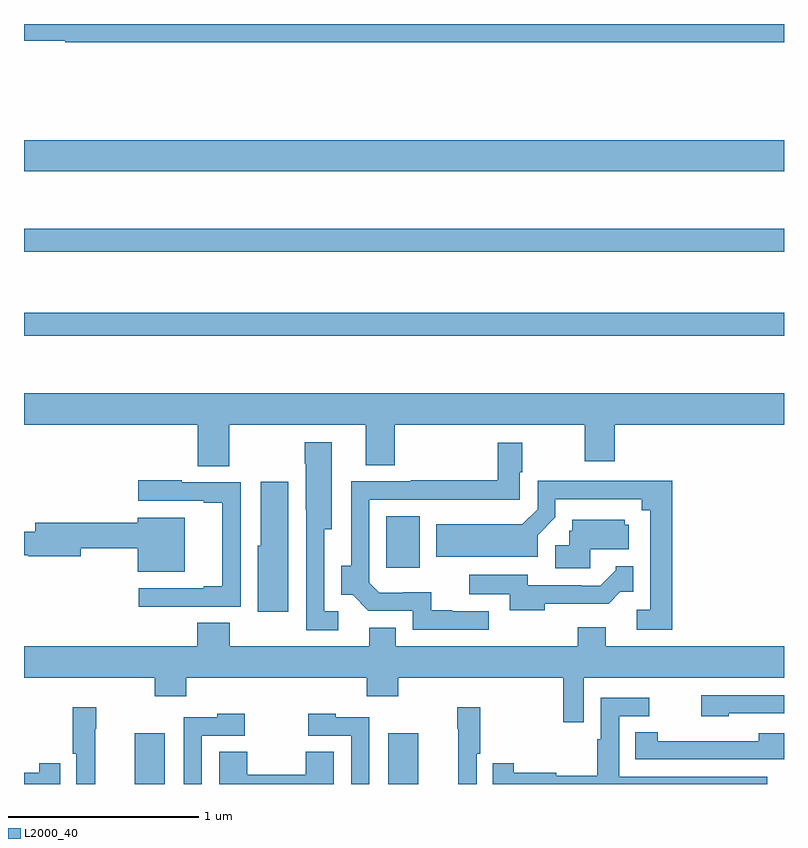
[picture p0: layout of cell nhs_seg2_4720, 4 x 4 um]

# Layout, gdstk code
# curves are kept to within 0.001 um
import gdstk
lib = gdstk.Library(unit=1e-6, precision=1e-09)
def R(c, l, rs):  # rectangles x0, y0, x1, y1
    for r in rs: c.add(gdstk.rectangle(r[:2], r[2:], *l))
def P(c, l, *ps):  # polygons
    for p in ps: c.add(gdstk.Polygon(p, *l))
L2000_40 = (2000, 40)

nhs_seg2_4720 = lib.new_cell('nhs_seg2_4720')
R(nhs_seg2_4720, L2000_40, [(369.584,589.8,369.742,590.068), (370.916,589.8,371.074,590.068), (370.907,590.937,371.083,591.208), (369,592.158,373,592.279), (369,592.602,373,592.723), (369,593.024,373,593.188)])
P(nhs_seg2_4720, L2000_40, [(373,593.8),(369,593.8),(369,593.712),(369.218,593.712),(369.218,593.704),(373,593.704)],
  [(370.08,591.692),(370.799,591.692),(370.799,591.478),(370.952,591.478),(370.952,591.692),(371.95,591.692),(371.95,591.498),(372.11,591.498),(372.11,591.692),(373,591.692),(373,591.856),(369,591.856),(369,591.692),(369.914,591.692),(369.914,591.472),(370.08,591.472)],
  [(370.654,590.709),(370.581,590.709),(370.581,591.14),(370.621,591.14),(370.621,591.598),(370.477,591.598),(370.477,591.485),(370.484,591.485),(370.484,591.244),(370.485,591.244),(370.485,590.609),(370.654,590.609)],
  [(371.446,590.709),(371.255,590.709),(371.255,590.714),(371.144,590.714),(371.144,590.808),(370.871,590.807),(370.818,590.859),(370.818,591.297),(371.61,591.296),(371.61,591.441),(371.623,591.441),(371.623,591.595),(371.494,591.595),(371.494,591.398),(371.035,591.398),(371.035,591.393),(370.722,591.393),(370.722,590.948),(370.67,590.948),(370.67,590.795),(370.729,590.795),(370.812,590.712),(371.046,590.712),(371.046,590.613),(371.446,590.613)],
  [(369.827,590.733),(370.14,590.733),(370.14,591.387),(369.83,591.387),(369.83,591.4),(369.6,591.4),(369.6,591.291),(369.947,591.291),(369.947,591.279),(370.043,591.279),(370.043,590.842),(369.947,590.842),(369.947,590.829),(369.603,590.829),(369.603,590.732),(369.827,590.732)],
  [(372.413,591.396),(371.703,591.396),(371.703,591.246),(371.623,591.166),(371.171,591.166),(371.171,590.996),(371.703,590.996),(371.703,591.11),(371.796,591.203),(371.796,591.3),(372.25,591.3),(372.25,591.242),(372.297,591.242),(372.297,590.718),(372.225,590.718),(372.225,590.613),(372.413,590.613)],
  [(370.39,591.391),(370.247,591.391),(370.247,591.054),(370.229,591.054),(370.229,590.706),(370.39,590.706)],
  [(369.847,591.202),(369.599,591.202),(369.599,591.176),(369.059,591.176),(369.059,591.127),(369,591.127),(369,591.005),(369.022,591.005),(369.022,590.998),(369.298,590.998),(369.298,591.04),(369.599,591.04),(369.599,590.918),(369.847,590.918)],
  [(371.98,591.035),(372.184,591.035),(372.184,591.165),(372.162,591.165),(372.162,591.19),(371.885,591.19),(371.885,591.132),(371.869,591.132),(371.869,591.057),(371.796,591.057),(371.796,590.936),(371.98,590.936)],
  [(371.74,590.75),(372.077,590.75),(372.138,590.811),(372.207,590.811),(372.207,590.947),(372.114,590.947),(372.114,590.925),(372.033,590.844),(371.933,590.844),(371.933,590.847),(371.652,590.847),(371.652,590.902),(371.343,590.902),(371.343,590.798),(371.556,590.798),(371.556,590.714),(371.74,590.714)],
  [(371.946,590.36),(373,590.36),(373,590.524),(372.061,590.524),(372.061,590.626),(371.914,590.626),(371.914,590.524),(370.957,590.524),(370.957,590.623),(370.817,590.623),(370.817,590.524),(370.083,590.524),(370.083,590.648),(369.911,590.648),(369.911,590.524),(369,590.524),(369,590.36),(369.689,590.36),(369.689,590.261),(369.854,590.261),(369.854,590.36),(370.805,590.36),(370.805,590.261),(370.97,590.261),(370.97,590.36),(371.838,590.36),(371.838,590.124),(371.946,590.124)],
  [(372.708,590.172),(373,590.172),(373,590.268),(372.564,590.268),(372.564,590.156),(372.708,590.156)],
  [(372.912,589.839),(372.132,589.839),(372.132,590.157),(372.292,590.157),(372.292,590.253),(372.036,590.253),(372.036,590.036),(372.016,590.036),(372.016,589.844),(371.802,589.844),(371.802,589.859),(371.578,589.859),(371.578,589.909),(371.467,589.909),(371.467,589.8),(372.912,589.8)],
  [(371.382,589.958),(371.402,589.958),(371.402,590.203),(371.279,590.203),(371.279,590.09),(371.285,590.09),(371.285,589.8),(371.382,589.8)],
  [(369.374,590.09),(369.38,590.09),(369.38,590.203),(369.256,590.203),(369.256,589.958),(369.276,589.958),(369.276,589.8),(369.374,589.8)],
  [(370.818,590.151),(370.641,590.151),(370.641,590.17),(370.497,590.17),(370.497,590.055),(370.722,590.055),(370.722,589.8),(370.818,589.8)],
  [(369.936,590.055),(370.162,590.055),(370.162,590.17),(370.017,590.17),(370.017,590.151),(369.84,590.151),(369.84,589.8),(369.936,589.8)],
  [(373,590.068),(372.866,590.068),(372.866,590.026),(372.336,590.026),(372.336,590.072),(372.217,590.072),(372.217,589.929),(373,589.929)],
  [(370.63,589.97),(370.483,589.97),(370.483,589.85),(370.176,589.85),(370.176,589.97),(370.028,589.97),(370.028,589.8),(370.63,589.8)],
  [(369.191,589.909),(369.08,589.909),(369.08,589.859),(369,589.859),(369,589.8),(369.191,589.8)])

lib.write_gds('nhs_seg2_4720.gds')
